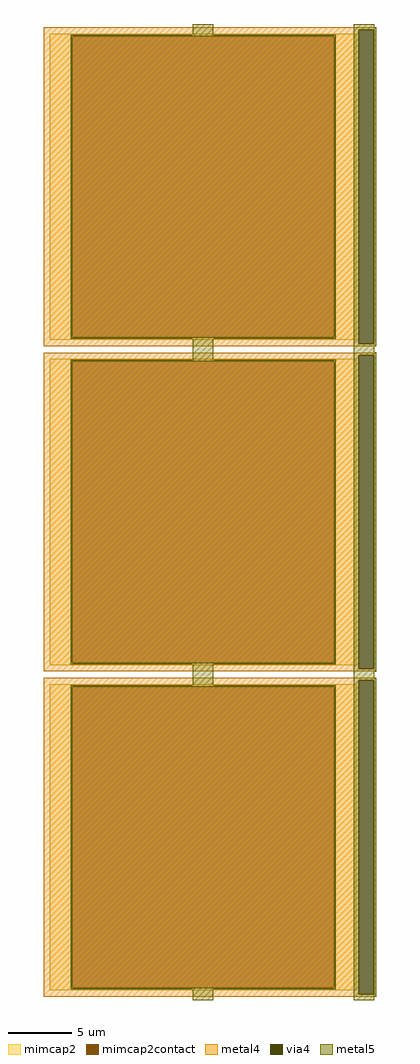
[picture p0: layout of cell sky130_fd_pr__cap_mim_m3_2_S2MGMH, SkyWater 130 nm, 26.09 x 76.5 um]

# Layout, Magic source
magic
tech sky130A
magscale 1 2
<< metal4 >>
rect -2598 7559 2597 7600
rect -2598 2641 2341 7559
rect 2577 2641 2597 7559
rect -2598 2600 2597 2641
rect -2598 2459 2597 2500
rect -2598 -2459 2341 2459
rect 2577 -2459 2597 2459
rect -2598 -2500 2597 -2459
rect -2598 -2641 2597 -2600
rect -2598 -7559 2341 -2641
rect 2577 -7559 2597 -2641
rect -2598 -7600 2597 -7559
<< via4 >>
rect 2341 2641 2577 7559
rect 2341 -2459 2577 2459
rect 2341 -7559 2577 -2641
<< mimcap2 >>
rect -2498 7460 2302 7500
rect -2498 2740 -2151 7460
rect 1955 2740 2302 7460
rect -2498 2700 2302 2740
rect -2498 2360 2302 2400
rect -2498 -2360 -2151 2360
rect 1955 -2360 2302 2360
rect -2498 -2400 2302 -2360
rect -2498 -2740 2302 -2700
rect -2498 -7460 -2151 -2740
rect 1955 -7460 2302 -2740
rect -2498 -7500 2302 -7460
<< mimcap2contact >>
rect -2151 2740 1955 7460
rect -2151 -2360 1955 2360
rect -2151 -7460 1955 -2740
<< metal5 >>
rect -258 7484 62 7650
rect 2262 7601 2582 7650
rect 2262 7559 2619 7601
rect -2175 7460 1979 7484
rect -2175 2740 -2151 7460
rect 1955 2740 1979 7460
rect -2175 2716 1979 2740
rect -258 2384 62 2716
rect 2262 2641 2341 7559
rect 2577 2641 2619 7559
rect 2262 2599 2619 2641
rect 2262 2501 2582 2599
rect 2262 2459 2619 2501
rect -2175 2360 1979 2384
rect -2175 -2360 -2151 2360
rect 1955 -2360 1979 2360
rect -2175 -2384 1979 -2360
rect -258 -2716 62 -2384
rect 2262 -2459 2341 2459
rect 2577 -2459 2619 2459
rect 2262 -2501 2619 -2459
rect 2262 -2599 2582 -2501
rect 2262 -2641 2619 -2599
rect -2175 -2740 1979 -2716
rect -2175 -7460 -2151 -2740
rect 1955 -7460 1979 -2740
rect -2175 -7484 1979 -7460
rect -258 -7650 62 -7484
rect 2262 -7559 2341 -2641
rect 2577 -7559 2619 -2641
rect 2262 -7601 2619 -7559
rect 2262 -7650 2582 -7601
<< properties >>
string gencell sky130_fd_pr__cap_mim_m3_2
string FIXED_BBOX -2598 2600 2402 7600
string parameters w 24.0 l 24.0 val 1.17k carea 2.00 cperi 0.19 nx 1 ny 3 dummy 0 square 0 lmin 2.00 wmin 2.00 lmax 30.0 wmax 30.0 dc 0 bconnect 1 tconnect 1 ccov 87
string library sky130
<< end >>
